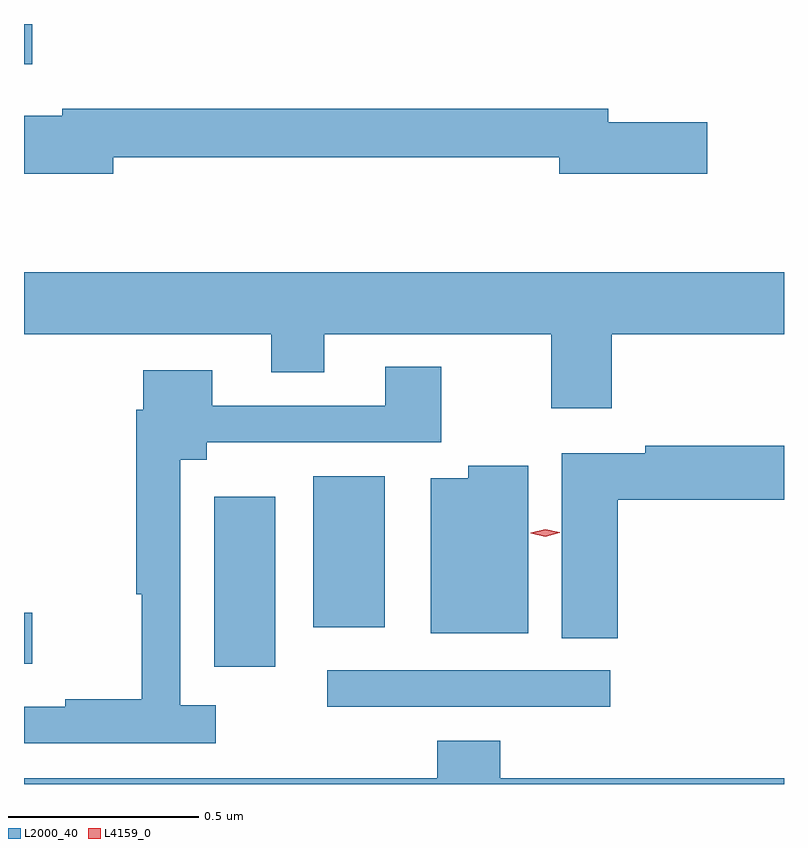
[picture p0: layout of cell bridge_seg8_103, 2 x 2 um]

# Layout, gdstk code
import gdstk
lib = gdstk.Library(unit=1e-6, precision=1e-09)
def R(c, l, rs):  # rectangles x0, y0, x1, y1
    for r in rs: c.add(gdstk.rectangle(r[:2], r[2:], *l))
def P(c, l, *ps):  # polygons
    for p in ps: c.add(gdstk.Polygon(p, *l))
L2000_40 = (2000, 40)
L4159_0 = (4159, 0)

bridge_seg8_103 = lib.new_cell('bridge_seg8_103')
R(bridge_seg8_103, L2000_40, [(756.141,1152.816,756.886,1152.912), (755.843,1152.921,756.004,1153.369), (755.343,1152.929,755.365,1153.064), (756.104,1153.025,756.292,1153.423), (755.343,1154.507,755.365,1154.613)])
P(bridge_seg8_103, L2000_40, [(755.578,1154.262),(756.752,1154.262),(756.752,1154.219),(757.141,1154.219),(757.141,1154.354),(756.88,1154.354),(756.88,1154.39),(755.443,1154.39),(755.443,1154.371),(755.343,1154.371),(755.343,1154.219),(755.578,1154.219)],
  [(756.89,1153.796),(757.343,1153.796),(757.343,1153.96),(755.343,1153.96),(755.343,1153.796),(755.993,1153.796),(755.993,1153.697),(756.133,1153.697),(756.133,1153.796),(756.73,1153.796),(756.73,1153.602),(756.89,1153.602)],
  [(755.848,1152.82),(755.754,1152.82),(755.754,1153.466),(755.824,1153.466),(755.824,1153.512),(756.441,1153.512),(756.441,1153.711),(756.293,1153.711),(756.293,1153.608),(755.839,1153.608),(755.839,1153.702),(755.657,1153.702),(755.657,1153.598),(755.638,1153.598),(755.638,1153.113),(755.653,1153.113),(755.653,1152.836),(755.452,1152.836),(755.452,1152.816),(755.343,1152.816),(755.343,1152.72),(755.848,1152.72)],
  [(756.905,1153.361),(757.343,1153.361),(757.343,1153.503),(756.978,1153.503),(756.978,1153.483),(756.758,1153.483),(756.758,1152.997),(756.905,1152.997)],
  [(756.67,1153.45),(756.512,1153.45),(756.512,1153.417),(756.413,1153.417),(756.413,1153.01),(756.67,1153.01)],
  [(757.343,1152.628),(756.596,1152.628),(756.596,1152.727),(756.431,1152.727),(756.431,1152.628),(755.343,1152.628),(755.343,1152.613),(757.343,1152.613)])
P(bridge_seg8_103, L4159_0, [(756.715,1153.264),(756.677,1153.273),(756.677,1153.273),(756.677,1153.274),(756.715,1153.284),(756.753,1153.275),(756.753,1153.274),(756.753,1153.274)])

lib.write_gds('bridge_seg8_103.gds')
